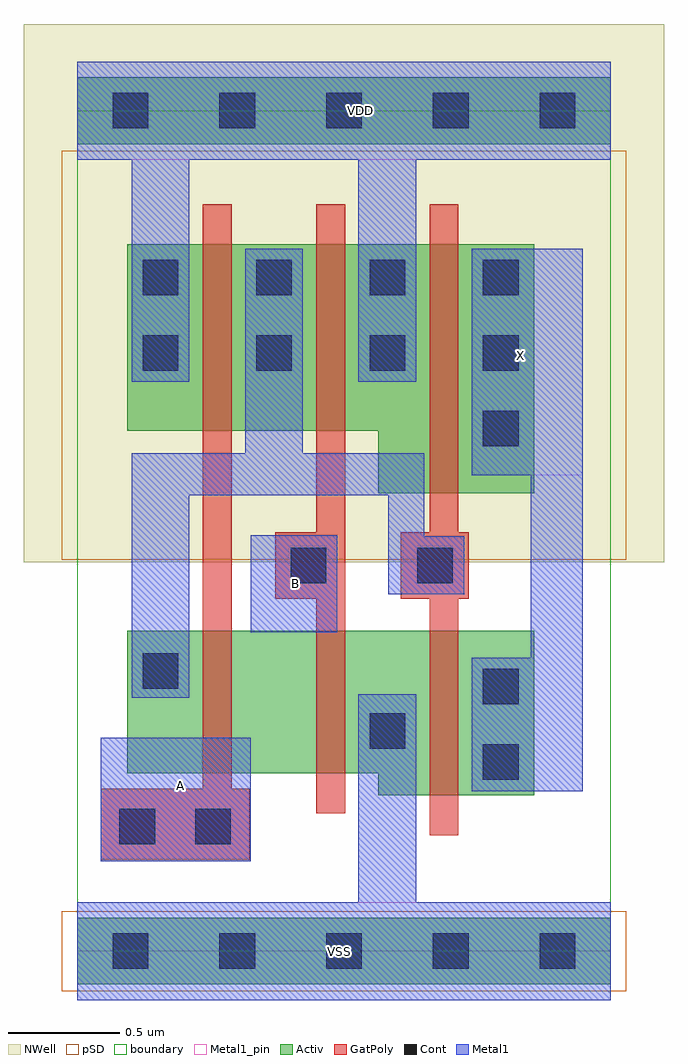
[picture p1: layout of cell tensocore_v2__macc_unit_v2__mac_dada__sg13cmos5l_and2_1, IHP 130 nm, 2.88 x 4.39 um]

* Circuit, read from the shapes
.subckt tensocore_v2__macc_unit_v2__mac_dada__sg13cmos5l_and2_1 A B VDD VSS X
XM1 n1 A n2 VSS sg13_lv_nmos w=0.64u l=0.13u
XM2 VSS B n1 VSS sg13_lv_nmos w=0.64u l=0.13u
XM3 X n2 VSS VSS sg13_lv_nmos w=0.74u l=0.13u
XM4 n2 A VDD VDD sg13_lv_pmos w=0.84u l=0.13u
XM5 VDD B n2 VDD sg13_lv_pmos w=0.84u l=0.13u
XM6 X n2 VDD VDD sg13_lv_pmos w=1.12u l=0.13u
.ends

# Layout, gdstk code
import gdstk
lib = gdstk.Library(unit=1e-6, precision=1e-09)
def R(c, l, rs):  # rectangles x0, y0, x1, y1
    for r in rs: c.add(gdstk.rectangle(r[:2], r[2:], *l))
def A(c, l, x, y, w, h, nx, ny, dx, dy):  # array of equal rectangles
    R(c, l, [(x+i*dx, y+j*dy, x+i*dx+w, y+j*dy+h) for i in range(nx) for j in range(ny)])
def P(c, l, *ps):  # polygons
    for p in ps: c.add(gdstk.Polygon(p, *l))
Activ = (1, 0)
GatPoly = (5, 0)
Cont = (6, 0)
Metal1 = (8, 0)
Metal1_pin = (8, 2)
pSD = (14, 0)
NWell = (31, 0)
boundary = (189, 4)

tensocore_v2__macc_unit_ = lib.new_cell('tensocore_v2__macc_unit_v2__mac_dada__sg13cmos5l_and2_1')
R(tensocore_v2__macc_unit_, Activ, [(0,-0.15,2.4,0.15), (0,3.63,2.4,3.93)])
P(tensocore_v2__macc_unit_, Activ, [(1.355,2.06),(1.355,2.34),(0.225,2.34),(0.225,3.18),(2.055,3.18),(2.055,2.06)],
  [(1.355,0.7),(1.355,0.8),(0.225,0.8),(0.225,1.44),(2.055,1.44),(2.055,0.7)])
P(tensocore_v2__macc_unit_, GatPoly, [(1.075,0.62),(1.075,1.585),(0.89,1.585),(0.89,1.885),(1.075,1.885),(1.075,3.36),(1.205,3.36),(1.205,0.62)],
  [(0.105,0.41),(0.105,0.73),(0.565,0.73),(0.565,3.36),(0.695,3.36),(0.695,0.73),(0.775,0.73),(0.775,0.41)],
  [(1.585,0.52),(1.585,1.585),(1.455,1.585),(1.455,1.885),(1.585,1.885),(1.585,3.36),(1.715,3.36),(1.715,1.885),(1.76,1.885),(1.76,1.585),(1.715,1.585),(1.715,0.52)])
A(tensocore_v2__macc_unit_, Cont, 0.16, -0.08, 0.16, 0.16, 5, 1, 0.48, 0)
A(tensocore_v2__macc_unit_, Cont, 0.295, 2.61, 0.16, 0.16, 4, 2, 0.51, 0.34)
R(tensocore_v2__macc_unit_, Cont, [(0.19,0.48,0.35,0.64), (0.53,0.48,0.69,0.64), (1.825,0.77,1.985,0.93), (1.315,0.91,1.475,1.07), (1.825,1.11,1.985,1.27), (0.295,1.18,0.455,1.34), (0.96,1.655,1.12,1.815), (1.53,1.655,1.69,1.815), (1.825,2.27,1.985,2.43), (0.16,3.7,0.32,3.86), (0.16,3.7,0.32,3.86), (0.16,3.7,0.32,3.86), (0.64,3.7,0.8,3.86), (0.64,3.7,0.8,3.86), (1.12,3.7,1.28,3.86), (1.12,3.7,1.28,3.86), (1.6,3.7,1.76,3.86), (1.6,3.7,1.76,3.86), (2.08,3.7,2.24,3.86), (2.08,3.7,2.24,3.86)])
R(tensocore_v2__macc_unit_, Metal1, [(0.105,0.405,0.78,0.96), (0.78,1.435,1.17,1.87)])
P(tensocore_v2__macc_unit_, Metal1, [(0,-0.22),(0,0.22),(1.265,0.22),(1.265,1.155),(1.525,1.155),(1.525,0.22),(2.4,0.22),(2.4,-0.22)],
  [(0.245,2.56),(0.245,3.56),(0,3.56),(0,4),(2.4,4),(2.4,3.56),(1.525,3.56),(1.525,2.56),(1.265,2.56),(1.265,3.56),(0.505,3.56),(0.505,2.56)],
  [(1.775,0.72),(1.775,1.32),(2.04,1.32),(2.04,2.14),(1.775,2.14),(1.775,3.16),(2.275,3.16),(2.275,0.72)],
  [(0.245,1.14),(0.245,2.24),(0.755,2.24),(0.755,3.16),(1.015,3.16),(1.015,2.24),(1.56,2.24),(1.56,1.865),(1.74,1.865),(1.74,1.605),(1.4,1.605),(1.4,2.05),(0.505,2.05),(0.505,1.14)])
R(tensocore_v2__macc_unit_, Metal1_pin, [(0,-0.22,2.4,0.22), (0.105,0.405,0.78,0.96), (0.78,1.435,1.17,1.87), (1.775,2.14,2.275,3.16), (0,3.56,2.4,4)])
R(tensocore_v2__macc_unit_, pSD, [(-0.07,-0.18,2.47,0.18), (-0.07,1.76,2.47,3.6), (-0.07,1.76,0.55,3.6)])
R(tensocore_v2__macc_unit_, NWell, [(-0.24,1.75,2.64,4.17)])
R(tensocore_v2__macc_unit_, boundary, [(0,0,2.4,3.78)])
tensocore_v2__macc_unit_.add(gdstk.Label('A', (0.465,0.745), layer=8, texttype=25))
tensocore_v2__macc_unit_.add(gdstk.Label('B', (0.98,1.655), layer=8, texttype=25))
tensocore_v2__macc_unit_.add(gdstk.Label('VDD', (1.275,3.78), layer=8, texttype=25))
tensocore_v2__macc_unit_.add(gdstk.Label('VSS', (1.18,0), layer=8, texttype=25))
tensocore_v2__macc_unit_.add(gdstk.Label('X', (1.995,2.68), layer=8, texttype=25))

lib.write_gds('tensocore_v2__macc_unit_v2__mac_dada__sg13cmos5l_and2_1.gds')
